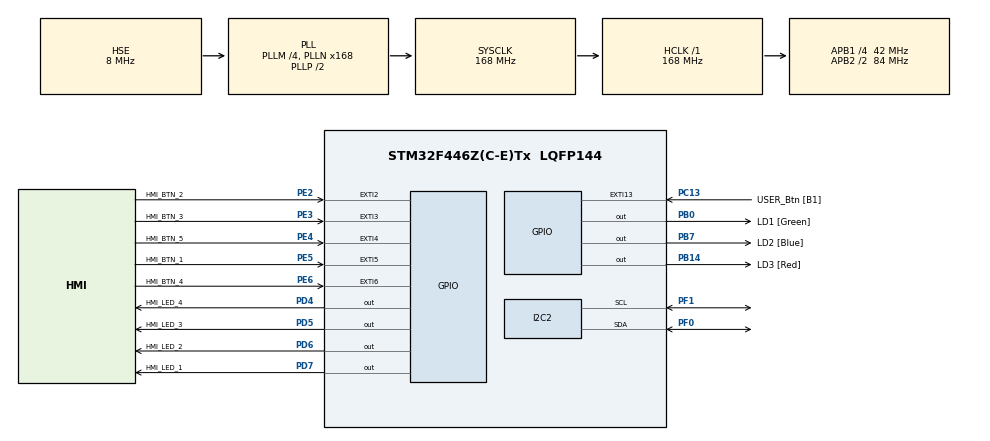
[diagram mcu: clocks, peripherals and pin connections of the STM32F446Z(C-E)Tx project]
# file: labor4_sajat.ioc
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Mcu.Family=STM32F4
Mcu.Name=STM32F446Z(C-E)Tx
Mcu.Package=LQFP144
NVIC.EXTI15_10_IRQn=true\:0\:0\:false\:false\:true\:true\:true\:true
NVIC.EXTI2_IRQn=true\:0\:0\:false\:false\:true\:true\:true\:true
NVIC.EXTI3_IRQn=true\:0\:0\:false\:false\:true\:true\:true\:true
NVIC.EXTI4_IRQn=true\:0\:0\:false\:false\:true\:true\:true\:true
NVIC.EXTI9_5_IRQn=true\:0\:0\:false\:false\:true\:true\:true\:true
NVIC.PriorityGroup=NVIC_PRIORITYGROUP_4
PA13.Mode=Serial_Wire
PA13.Signal=SYS_JTMS-SWDIO
PA14.Mode=Serial_Wire
PA14.Signal=SYS_JTCK-SWCLK
PB0.GPIO_Label=LD1 [Green]
PB0.Signal=GPIO_Output
PB14.GPIO_Label=LD3 [Red]
PB14.Signal=GPIO_Output
PB7.GPIO_Label=LD2 [Blue]
PB7.Signal=GPIO_Output
PC13.GPIO_Label=USER_Btn [B1]
PC13.Signal=GPXTI13
PC14-OSC32_IN.Mode=LSE-External-Oscillator
PC14-OSC32_IN.Signal=RCC_OSC32_IN
PC15-OSC32_OUT.Mode=LSE-External-Oscillator
PC15-OSC32_OUT.Signal=RCC_OSC32_OUT
PD4.GPIO_Label=HMI_LED_4
PD4.GPIO_ModeDefaultOutputPP=GPIO_MODE_OUTPUT_PP
PD4.GPIO_PuPd=GPIO_NOPULL
PD4.GPIO_Speed=GPIO_SPEED_FREQ_LOW
PD4.PinState=GPIO_PIN_RESET
PD4.Signal=GPIO_Output
PD5.GPIO_Label=HMI_LED_3
PD5.GPIO_ModeDefaultOutputPP=GPIO_MODE_OUTPUT_PP
PD5.GPIO_PuPd=GPIO_NOPULL
PD5.GPIO_Speed=GPIO_SPEED_FREQ_LOW
PD5.PinState=GPIO_PIN_RESET
PD5.Signal=GPIO_Output
PD6.GPIO_Label=HMI_LED_2
PD6.GPIO_ModeDefaultOutputPP=GPIO_MODE_OUTPUT_PP
PD6.GPIO_PuPd=GPIO_NOPULL
PD6.GPIO_Speed=GPIO_SPEED_FREQ_LOW
PD6.PinState=GPIO_PIN_RESET
PD6.Signal=GPIO_Output
PD7.GPIO_Label=HMI_LED_1
PD7.GPIO_ModeDefaultOutputPP=GPIO_MODE_OUTPUT_PP
PD7.GPIO_PuPd=GPIO_NOPULL
PD7.GPIO_Speed=GPIO_SPEED_FREQ_LOW
PD7.PinState=GPIO_PIN_RESET
PD7.Signal=GPIO_Output
PE2.GPIO_Label=HMI_BTN_2
PE2.GPIO_ModeDefaultEXTI=GPIO_MODE_IT_RISING_FALLING
PE2.GPIO_PuPd=GPIO_PULLDOWN
PE2.Signal=GPXTI2
PE3.GPIO_Label=HMI_BTN_3
PE3.GPIO_ModeDefaultEXTI=GPIO_MODE_IT_RISING_FALLING
PE3.GPIO_PuPd=GPIO_PULLDOWN
PE3.Signal=GPXTI3
PE4.GPIO_Label=HMI_BTN_5
PE4.GPIO_ModeDefaultEXTI=GPIO_MODE_IT_RISING_FALLING
PE4.GPIO_PuPd=GPIO_PULLDOWN
PE4.Signal=GPXTI4
PE5.GPIO_Label=HMI_BTN_1
PE5.GPIO_ModeDefaultEXTI=GPIO_MODE_IT_RISING_FALLING
PE5.GPIO_PuPd=GPIO_PULLDOWN
PE5.Signal=GPXTI5
PE6.GPIO_Label=HMI_BTN_4
PE6.GPIO_ModeDefaultEXTI=GPIO_MODE_IT_RISING_FALLING
PE6.GPIO_PuPd=GPIO_PULLDOWN
PE6.Signal=GPXTI6
PF0.Mode=I2C
PF0.Signal=I2C2_SDA
PF1.Mode=I2C
PF1.Signal=I2C2_SCL
PH0-OSC_IN.Mode=HSE-External-Clock-Source
PH0-OSC_IN.Signal=RCC_OSC_IN
PH1-OSC_OUT.Mode=HSE-External-Clock-Source
PH1-OSC_OUT.Signal=RCC_OSC_OUT
ProjectManager.HeapSize=0x200
ProjectManager.StackSize=0x400
ProjectManager.TargetToolchain=STM32CubeIDE
RCC.48MHZClocksFreq_Value=24000000
RCC.AHBFreq_Value=168000000
RCC.APB1CLKDivider=RCC_HCLK_DIV4
RCC.APB1Freq_Value=42000000
RCC.APB1TimFreq_Value=84000000
RCC.APB2CLKDivider=RCC_HCLK_DIV2
RCC.APB2Freq_Value=84000000
RCC.APB2TimFreq_Value=168000000
RCC.CortexFreq_Value=168000000
RCC.HCLKFreq_Value=168000000
RCC.HSE_VALUE=8000000
RCC.HSI_VALUE=16000000
RCC.PLLM=4
RCC.PLLMUL=RCC_PLL_MUL9
RCC.PLLN=168
RCC.PLLQ=7
RCC.PLLSourceVirtual=RCC_PLLSOURCE_HSE
RCC.PRESCALERUSB=RCC_USBCLKSOURCE_PLL_DIV1_5
RCC.SYSCLKFreq_VALUE=168000000
RCC.SYSCLKSource=RCC_SYSCLKSOURCE_PLLCLK
RCC.SYSCLKSourceVirtual=RCC_SYSCLKSOURCE_PLLCLK
RCC.USBFreq_Value=48000000
RCC.VCOOutputFreq_Value=336000000
board=NUCLEO-F446ZE

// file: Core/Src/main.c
/* USER CODE BEGIN Header */
/**
  ******************************************************************************
  * @file           : main.c
  * @brief          : Main program body
  ******************************************************************************
  * @attention
  *
  * Copyright (c) 2024 STMicroelectronics.
  * All rights reserved.
  *
  * This software is licensed under terms that can be found in the LICENSE file
  * in the root directory of this software component.
  * If no LICENSE file comes with this software, it is provided AS-IS.
  *
  ******************************************************************************
  */
/* USER CODE END Header */
#include "main.h"
#include "i2c.h"
#include "gpio.h"

/* USER CODE BEGIN Includes */
#include "OLED.h"
#include <stdlib.h>
/* USER CODE END Includes */

/* USER CODE BEGIN PTD */

// Enumeration for state machine
typedef enum
{
    OLED_STATE_TETRIS = 0x00,       // Tetris animation
    OLED_STATE_JOHNDOE = 0x01,      // JOHN DOE + Microprocessors text
} OLED_Test_state;

/* USER CODE END PTD */

/* USER CODE BEGIN PD */
#define BLOCK_SIZE 8
#define GRID_WIDTH 16
#define GRID_HEIGHT 8
#define DROP_INTERVAL_MS 500
/* USER CODE END PD */

/* USER CODE BEGIN PV */
OLED_Test_state test_state = OLED_STATE_TETRIS;

GPIO_PinState previous_button_state[3] = {0u, 0u, 0u};
GPIO_PinState current_button_state[3] = {0u, 0u, 0u};

uint32_t drop_counter = 0;

// Tetromino shapes (4x4 matrix, each cell is 1 bit)
const uint8_t tetrominos[7][16] = {
    {1,1,1,1,  0,0,0,0,  0,0,0,0,  0,0,0,0},  // I
    {1,1,1,0,  0,1,0,0,  0,0,0,0,  0,0,0,0},  // J
    {1,1,1,0,  1,0,0,0,  0,0,0,0,  0,0,0,0},  // L
    {1,1,0,0,  1,1,0,0,  0,0,0,0,  0,0,0,0},  // O
    {0,1,1,0,  1,1,0,0,  0,0,0,0,  0,0,0,0},  // S
    {0,1,0,0,  1,1,1,0,  0,0,0,0,  0,0,0,0},  // T
    {0,1,1,0,  0,1,1,0,  0,0,0,0,  0,0,0,0}   // Z
};

typedef struct {
    uint8_t shape_index;
    uint8_t col;
    uint8_t row;
} FallingBlock;

FallingBlock current_block = {0};
FallingBlock locked_blocks[GRID_HEIGHT][GRID_WIDTH];
/* USER CODE END PV */

void SystemClock_Config(void);
/* USER CODE BEGIN PFP */
// Helper function declarations
void DrawBlock(uint8_t col, uint8_t row, uint8_t color);
void DrawTetromino(FallingBlock* block, uint8_t color);
void MoveDown(void);
uint8_t IsRowFull(uint8_t row);
void ClearBottomRow(uint8_t row);
void RenderLockedBlocks(void);
void ResetGameBoard(void);
void OLED_TestJohnDoe(void);
/* USER CODE END PFP */

/* USER CODE BEGIN 0 */

// Draw a single block at grid position
void DrawBlock(uint8_t col, uint8_t row, uint8_t color)
{
    uint8_t px = col * BLOCK_SIZE;
    uint8_t py = row * BLOCK_SIZE;
    OLED_DrawRectangle(px, py, px + BLOCK_SIZE - 1, py + BLOCK_SIZE - 1, color);
}

// Draw entire tetromino at current position
void DrawTetromino(FallingBlock* block, uint8_t color)
{
    const uint8_t* shape = tetrominos[block->shape_index];
    for (int r = 0; r < 4; r++)
    {
        for (int c = 0; c < 4; c++)
        {
            if (shape[r * 4 + c])
            {
                DrawBlock(block->col + c, block->row + r, color);
            }
        }
    }
}

// Move current block down
void MoveDown(void)
{
    if (current_block.row < GRID_HEIGHT - 1)
    {
        current_block.row++;
    }
    else
    {
        // Lock the block
        const uint8_t* shape = tetrominos[current_block.shape_index];
        for (int r = 0; r < 4; r++)
        {
            for (int c = 0; c < 4; c++)
            {
                if (shape[r * 4 + c])
                {
                    uint8_t gc = current_block.col + c;
                    uint8_t gr = current_block.row + r;

                    if (gc < GRID_WIDTH && gr < GRID_HEIGHT)
                    {
                        locked_blocks[gr][gc].shape_index = current_block.shape_index;
                        locked_blocks[gr][gc].col = gc;
                        locked_blocks[gr][gc].row = gr;
                    }
                }
            }
        }

        // Spawn new block
        current_block.shape_index = rand() % 7;
        current_block.col = GRID_WIDTH / 2 - 2;
        current_block.row = 0;
    }
}

// Check if row is full
uint8_t IsRowFull(uint8_t row)
{
    for (int c = 0; c < GRID_WIDTH; c++)
    {
        if (locked_blocks[row][c].shape_index == 255) return 0;
    }
    return 1;
}

// Clear full row and shift down
void ClearBottomRow(uint8_t row)
{
    for (int c = 0; c < GRID_WIDTH; c++)
    {
        locked_blocks[row][c].shape_index = 255;  // Mark empty
    }

    // Shift everything down
    for (int r = row; r > 0; r--)
    {
        for (int c = 0; c < GRID_WIDTH; c++)
        {
            locked_blocks[r][c] = locked_blocks[r-1][c];
        }
    }
}

// Render all locked blocks
void RenderLockedBlocks(void)
{
    for (int r = 0; r < GRID_HEIGHT; r++)
    {
        for (int c = 0; c < GRID_WIDTH; c++)
        {
            if (locked_blocks[r][c].shape_index != 255)
            {
                DrawBlock(c, r, WHITE);
            }
        }
    }
}

// Reset game board
void ResetGameBoard(void)
{
    for (int r = 0; r < GRID_HEIGHT; r++)
    {
        for (int c = 0; c < GRID_WIDTH; c++)
        {
            locked_blocks[r][c].shape_index = 255;  // Empty marker
        }
    }
    current_block.shape_index = rand() % 7;
    current_block.col = GRID_WIDTH / 2 - 2;
    current_block.row = 0;
    drop_counter = 0;
}

// JOHN DOE + Microprocessors text display
void OLED_TestJohnDoe(void)
{
    // Clear screen
    OLED_Fill(BLACK);

    OLED_SetCursor(14, 15);
    OLED_WriteString("CRACIUN EDVIN", Font_11x18, WHITE);

    // Draw "Microprocessors" below it
    OLED_SetCursor(11, 15 + 18 + 5);
    OLED_WriteString("Microprocessors", Font_7x10, WHITE);

    return;
}

/* USER CODE END 0 */

int main(void)
{

  /* MCU Configuration--------------------------------------------------------*/

  /* Reset of all peripherals, Initializes the Flash interface and the Systick. */
  HAL_Init();

  /* Configure the system clock */
  SystemClock_Config();

  /* Initialize all configured peripherals */
  MX_GPIO_Init();
  MX_I2C2_Init();
  /* USER CODE BEGIN 2 */

  OLED_Init();
  ResetGameBoard();  // Initialize Tetris game board

  HAL_Delay(1000);
  OLED_Fill(BLACK);
  OLED_UpdateScreen();
  HAL_Delay(1000);

  /* USER CODE END 2 */

  /* Infinite loop */
  /* USER CODE BEGIN WHILE */
  while (1)
  {
    // Button handling - read the button states
    current_button_state[0] = HAL_GPIO_ReadPin(HMI_BTN_2_GPIO_Port, HMI_BTN_2_Pin);
    current_button_state[1] = HAL_GPIO_ReadPin(HMI_BTN_3_GPIO_Port, HMI_BTN_3_Pin);
    current_button_state[2] = HAL_GPIO_ReadPin(HMI_BTN_4_GPIO_Port, HMI_BTN_4_Pin);

    // Left button - previous state
    if ((current_button_state[0] != previous_button_state[0]) && (GPIO_PIN_RESET == current_button_state[0]))
    {
        if(test_state == OLED_STATE_TETRIS)
        {
            test_state = OLED_STATE_JOHNDOE;
        }
        else
        {
            test_state = OLED_STATE_TETRIS;
        }

        // Cleanup the screen
        OLED_Fill(BLACK);
        OLED_UpdateScreen();
    }

    // Right button - next state
    if ((current_button_state[2] != previous_button_state[2]) && (GPIO_PIN_RESET == current_button_state[2]))
    {
        if(test_state == OLED_STATE_TETRIS)
        {
            test_state = OLED_STATE_JOHNDOE;
        }
        else
        {
            test_state = OLED_STATE_TETRIS;
        }

        // Cleanup the screen
        OLED_Fill(BLACK);
        OLED_UpdateScreen();
    }

    // Save the current button states
    previous_button_state[0] = current_button_state[0];
    previous_button_state[1] = current_button_state[1];
    previous_button_state[2] = current_button_state[2];

    // Select OLED test function
    switch (test_state)
    {
    case OLED_STATE_TETRIS:     // Tetris animation
        // Clear old frame
        for (int r = 0; r < GRID_HEIGHT; r++)
        {
            for (int c = 0; c < GRID_WIDTH; c++)
            {
                DrawBlock(c, r, BLACK);
            }
        }

        // Draw locked blocks
        RenderLockedBlocks();

        // Draw current falling block
        DrawTetromino(&current_block, WHITE);

        // Drop timer
        drop_counter += 50;  // 50ms per loop iteration
        if (drop_counter >= DROP_INTERVAL_MS)
        {
            drop_counter = 0;
            MoveDown();

            // Check for full rows (simple version - check bottom)
            for (int r = GRID_HEIGHT - 1; r >= 0; r--)
            {
                if (IsRowFull(r))
                {
                    ClearBottomRow(r);
                    break;
                }
            }
        }
        break;

    case OLED_STATE_JOHNDOE:    // JOHN DOE + Microprocessors
        OLED_TestJohnDoe();
        break;

    default:
        test_state = OLED_STATE_TETRIS;
        break;
    }

    OLED_UpdateScreen();
    HAL_Delay(50);

    /* USER CODE END WHILE */

  }
}

void SystemClock_Config(void)
{
  RCC_OscInitTypeDef RCC_OscInitStruct = {0};
  RCC_ClkInitTypeDef RCC_ClkInitStruct = {0};

  /** Configure the main internal regulator output voltage
  */
  __HAL_RCC_PWR_CLK_ENABLE();
  __HAL_PWR_VOLTAGESCALING_CONFIG(PWR_REGULATOR_VOLTAGE_SCALE1);

  /** Initializes the RCC Oscillators according to the specified parameters
  * in the RCC_OscInitTypeDef structure.
  */
  RCC_OscInitStruct.OscillatorType = RCC_OSCILLATORTYPE_HSE;
  RCC_OscInitStruct.HSEState = RCC_HSE_BYPASS;
  RCC_OscInitStruct.PLL.PLLState = RCC_PLL_ON;
  RCC_OscInitStruct.PLL.PLLSource = RCC_PLLSOURCE_HSE;
  RCC_OscInitStruct.PLL.PLLM = 4;
  RCC_OscInitStruct.PLL.PLLN = 168;
  RCC_OscInitStruct.PLL.PLLP = RCC_PLLP_DIV2;
  RCC_OscInitStruct.PLL.PLLQ = 7;
  RCC_OscInitStruct.PLL.PLLR = 2;
  if (HAL_RCC_OscConfig(&RCC_OscInitStruct) != HAL_OK)
  {
    Error_Handler();
  }

  /** Initializes the CPU, AHB and APB buses clocks
  */
  RCC_ClkInitStruct.ClockType = RCC_CLOCKTYPE_HCLK|RCC_CLOCKTYPE_SYSCLK
                              |RCC_CLOCKTYPE_PCLK1|RCC_CLOCKTYPE_PCLK2;
  RCC_ClkInitStruct.SYSCLKSource = RCC_SYSCLKSOURCE_PLLCLK;
  RCC_ClkInitStruct.AHBCLKDivider = RCC_SYSCLK_DIV1;
  RCC_ClkInitStruct.APB1CLKDivider = RCC_HCLK_DIV4;
  RCC_ClkInitStruct.APB2CLKDivider = RCC_HCLK_DIV2;

  if (HAL_RCC_ClockConfig(&RCC_ClkInitStruct, FLASH_LATENCY_5) != HAL_OK)
  {
    Error_Handler();
  }
}

void Error_Handler(void)
{
  __disable_irq();
  while (1)
  {
  }
}
